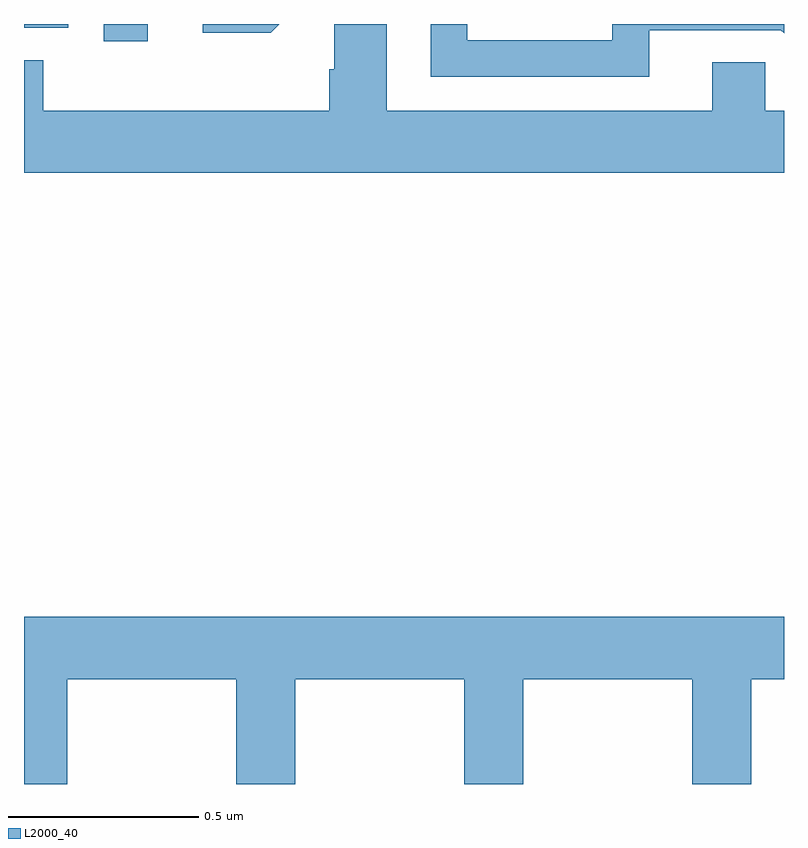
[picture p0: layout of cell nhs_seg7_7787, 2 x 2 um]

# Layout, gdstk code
import gdstk
lib = gdstk.Library(unit=1e-6, precision=1e-09)
def R(c, l, rs):  # rectangles x0, y0, x1, y1
    for r in rs: c.add(gdstk.rectangle(r[:2], r[2:], *l))
def P(c, l, *ps):  # polygons
    for p in ps: c.add(gdstk.Polygon(p, *l))
L2000_40 = (2000, 40)

nhs_seg7_7787 = lib.new_cell('nhs_seg7_7787')
R(nhs_seg7_7787, L2000_40, [(216.21,1008.954,216.325,1009), (216,1008.99,216.117,1009)])
P(nhs_seg7_7787, L2000_40, [(218,1008.772),(217.95,1008.772),(217.95,1008.899),(217.811,1008.899),(217.811,1008.772),(216.955,1008.772),(216.955,1009),(216.816,1009),(216.816,1008.881),(216.803,1008.881),(216.803,1008.772),(216.05,1008.772),(216.05,1008.905),(216,1008.905),(216,1008.608),(218,1008.608)],
  [(216.672,1009),(216.471,1009),(216.471,1008.977),(216.649,1008.977)],
  [(217.645,1008.984),(217.992,1008.984),(218,1008.976),(218,1009),(217.548,1009),(217.548,1008.957),(217.167,1008.957),(217.167,1009),(217.071,1009),(217.071,1008.861),(217.645,1008.861)],
  [(217.314,1007.276),(217.759,1007.276),(217.759,1007),(217.914,1007),(217.914,1007.276),(218,1007.276),(218,1007.44),(216,1007.44),(216,1007),(216.114,1007),(216.114,1007.276),(216.559,1007.276),(216.559,1007),(216.714,1007),(216.714,1007.276),(217.159,1007.276),(217.159,1007),(217.314,1007)])

lib.write_gds('nhs_seg7_7787.gds')
